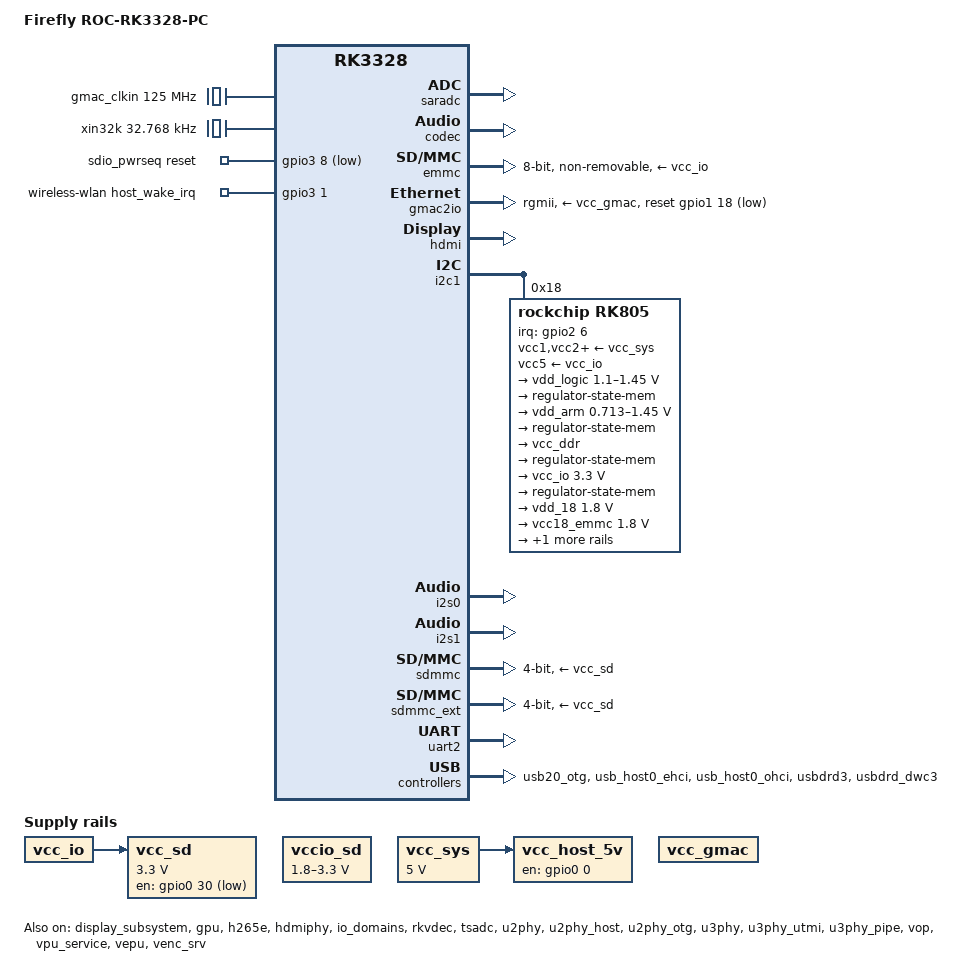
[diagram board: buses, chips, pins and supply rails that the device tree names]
/*
 * Copyright (c) 2017 Fuzhou Rockchip Electronics Co., Ltd
 *
 * This file is dual-licensed: you can use it either under the terms
 * of the GPL or the X11 license, at your option. Note that this dual
 * licensing only applies to this file, and not this project as a
 * whole.
 *
 *  a) This library is free software; you can redistribute it and/or
 *     modify it under the terms of the GNU General Public License as
 *     published by the Free Software Foundation; either version 2 of the
 *     License, or (at your option) any later version.
 *
 *     This library is distributed in the hope that it will be useful,
 *     but WITHOUT ANY WARRANTY; without even the implied warranty of
 *     MERCHANTABILITY or FITNESS FOR A PARTICULAR PURPOSE.  See the
 *     GNU General Public License for more details.
 *
 * Or, alternatively,
 *
 *  b) Permission is hereby granted, free of charge, to any person
 *     obtaining a copy of this software and associated documentation
 *     files (the "Software"), to deal in the Software without
 *     restriction, including without limitation the rights to use,
 *     copy, modify, merge, publish, distribute, sublicense, and/or
 *     sell copies of the Software, and to permit persons to whom the
 *     Software is furnished to do so, subject to the following
 *     conditions:
 *
 *     The above copyright notice and this permission notice shall be
 *     included in all copies or substantial portions of the Software.
 *
 *     THE SOFTWARE IS PROVIDED "AS IS", WITHOUT WARRANTY OF ANY KIND,
 *     EXPRESS OR IMPLIED, INCLUDING BUT NOT LIMITED TO THE WARRANTIES
 *     OF MERCHANTABILITY, FITNESS FOR A PARTICULAR PURPOSE AND
 *     NONINFRINGEMENT. IN NO EVENT SHALL THE AUTHORS OR COPYRIGHT
 *     HOLDERS BE LIABLE FOR ANY CLAIM, DAMAGES OR OTHER LIABILITY,
 *     WHETHER IN AN ACTION OF CONTRACT, TORT OR OTHERWISE, ARISING
 *     FROM, OUT OF OR IN CONNECTION WITH THE SOFTWARE OR THE USE OR
 *     OTHER DEALINGS IN THE SOFTWARE.
 */

/dts-v1/;
#include "rk3328.dtsi"

/ {
	model = "Firefly ROC-RK3328-PC";
	compatible = "firefly,roc-rk3328-pc", "rockchip,rk3328";

	chosen {
		bootargs = "rockchip_jtag earlyprintk=uart8250-32bit,0xff130000 swiotlb=1 kpti=0 console=ttyFIQ0 rw root=PARTUUID=614e0000-0000 rootfstype=ext4 rootwait";
		stdout-path = "serial2:1500000n8";
	};

	fiq-debugger {
		compatible = "rockchip,fiq-debugger";
		rockchip,serial-id = <2>;
		rockchip,signal-irq = <159>;
		rockchip,wake-irq = <0>;
		/* If enable uart uses irq instead of fiq */
		rockchip,irq-mode-enable = <0>;
		rockchip,baudrate = <1500000>;  /* Only 115200 and 1500000 */
		interrupts = <GIC_SPI 127 IRQ_TYPE_LEVEL_LOW>;
		status = "okay";
	};

	gmac_clkin: external-gmac-clock {
		compatible = "fixed-clock";
		clock-frequency = <125000000>;
		clock-output-names = "gmac_clkin";
		#clock-cells = <0>;
	};

	vcc_sd: sdmmc-regulator {
		compatible = "regulator-fixed";
		gpio = <&gpio0 30 GPIO_ACTIVE_LOW>;
		pinctrl-names = "default";
		pinctrl-0 = <&sdmmc_pwren>;
		regulator-name = "vcc_sd";
		regulator-min-microvolt = <3300000>;
		regulator-max-microvolt = <3300000>;
		vin-supply = <&vcc_io>;
	};

    vccio_sd: sdmmcio-regulator {
        compatible = "regulator-gpio";
        gpios = <&gpio0 27 GPIO_ACTIVE_HIGH>;
        states = <1800000 0x1
                  3300000 0x0>;
        regulator-name = "vccio_sd";
        regulator-type = "voltage";
        regulator-min-microvolt = <1800000>;
        regulator-max-microvolt = <3300000>;
    };

	vcc_host_5v: vcc-host-5v-regulator {
		compatible = "regulator-fixed";
		enable-active-high;
		gpio = <&gpio0 0 GPIO_ACTIVE_HIGH>;
		pinctrl-names = "default";
		pinctrl-0 = <&usb30_host_drv>;
		regulator-name = "vcc_host_5v";
		regulator-always-on;
		vin-supply = <&vcc_sys>;
	};

	vcc_sys: vcc-sys {
		compatible = "regulator-fixed";
		regulator-name = "vcc_sys";
		regulator-always-on;
		regulator-boot-on;
		regulator-min-microvolt = <5000000>;
		regulator-max-microvolt = <5000000>;
	};

    vcc_gmac: vcc-gmac {
        compatible = "regulator-fixed";
        regulator-name = "vcc_gmac";   
        regulator-always-on;
        regulator-boot-on;
    };

	xin32k: xin32k {
		compatible = "fixed-clock";
		clock-frequency = <32768>;
		clock-output-names = "xin32k";
		#clock-cells = <0>;
	};

	ir-receiver {
		compatible = "gpio-ir-receiver";
		pinctrl-0 = <&ir_int>;
		pinctrl-names = "default";
		status = "okay";
	};

	sound {
		compatible = "simple-audio-card";
		simple-audio-card,format = "i2s";
		simple-audio-card,mclk-fs = <256>;
		simple-audio-card,name = "rockchip,rk3328";
		simple-audio-card,cpu {
			sound-dai = <&i2s1>;
		};
		simple-audio-card,codec {
			sound-dai = <&codec>;
		};
	};

	hdmi-sound {
		compatible = "simple-audio-card";
		simple-audio-card,format = "i2s";
		simple-audio-card,mclk-fs = <128>;
		simple-audio-card,name = "rockchip,hdmi";
		simple-audio-card,cpu {
			sound-dai = <&i2s0>;
		};
		simple-audio-card,codec {
			sound-dai = <&hdmi>;
		};
	};

    sdio_pwrseq: sdio-pwrseq {
        compatible = "mmc-pwrseq-simple";
        pinctrl-names = "default";
        pinctrl-0 = <&wifi_enable_h>;
        /*
         * On the module itself this is one of these (depending
         * on the actual card populated):
         * - SDIO_RESET_L_WL_REG_ON
         * - PDN (power down when low)
         */
        reset-gpios = <&gpio3 8 GPIO_ACTIVE_LOW>;
    };
        
/*    wireless-bluetooth {
        compatible = "bluetooth-platdata";
        clocks = <&rk805 1>;
        clock-names = "ext_clock";
        uart_rts_gpios = <&gpio1 10 GPIO_ACTIVE_LOW>;
        pinctrl-names = "default", "rts_gpio";
        pinctrl-0 = <&uart0_rts>;
        pinctrl-1 = <&uart0_gpios>;
        BT,power_gpio = <&gpio1 21 GPIO_ACTIVE_HIGH>;
        BT,wake_host_irq = <&gpio1 26 GPIO_ACTIVE_HIGH>;
        status = "okay";
    };*/
    
    wireless-wlan {
        compatible = "wlan-platdata";
        clocks = <&cru SCLK_RTC32K>;
        clock-names = "ext_clock";
        pinctrl-names = "default";
        pinctrl-0 = <&clock_wifi>;
        rockchip,grf = <&grf>;
        wifi_chip_type = "";
        sdio_vref = <1800>;
        WIFI,host_wake_irq = <&gpio3 1 GPIO_ACTIVE_HIGH>;
        status = "okay";
    };

    adc-keys {                                                                                                                             
        compatible = "adc-keys";
        io-channels = <&saradc 0>;
    };
};

&saradc {
    status = "okay";
};

&codec {
	#sound-dai-cells = <0>;
	status = "okay";
};

&cpu0 {
	cpu-supply = <&vdd_arm>;
};

&cpu1 {
	cpu-supply = <&vdd_arm>;
};

&cpu2 {
	cpu-supply = <&vdd_arm>;
};

&cpu3 {
	cpu-supply = <&vdd_arm>;
};

&display_subsystem {
	status = "okay";
};

&emmc {
	bus-width = <8>;
	cap-mmc-highspeed;
	mmc-hs200-1_8v;
	non-removable;
	supports-emmc;
	pinctrl-names = "default";
	pinctrl-0 = <&emmc_clk &emmc_cmd &emmc_bus8>;
	vmmc-supply = <&vcc_io>;
	vqmmc-supply = <&vcc18_emmc>;
	status = "okay";
};

&gmac2io {
	phy-supply = <&vcc_gmac>;
	phy-mode = "rgmii";
	assigned-clocks = <&cru SCLK_MAC2IO>, <&cru SCLK_MAC2IO_EXT>;
	assigned-clock-parents = <&gmac_clkin>, <&gmac_clkin>;
	clock_in_out = "input";
	snps,reset-gpio = <&gpio1 18 GPIO_ACTIVE_HIGH>;
	snps,reset-active-low;
	snps,reset-delays-us = <0 10000 50000>;
	pinctrl-names = "default";
	pinctrl-0 = <&rgmiim1_pins &gmac_reset>;
	tx_delay = <0x26>;
	rx_delay = <0x11>;
	status = "okay";
};

&gpu {
	status = "okay";
	mali-supply = <&vdd_logic>;
};

&h265e {
	status = "okay";
};

&h265e_mmu {
	status = "okay";
};

&hdmi {
	#sound-dai-cells = <0>;
	status = "okay";
};

&hdmiphy {
	status = "okay";
};

&i2c1 {
	status = "okay";

	rk805: rk805@18 {
		compatible = "rockchip,rk805";
		status = "okay";
		reg = <0x18>;
		interrupt-parent = <&gpio2>;
		interrupts = <6 IRQ_TYPE_LEVEL_LOW>;
		pinctrl-names = "default";
		pinctrl-0 = <&pmic_int_l>;
		rockchip,system-power-controller;
		wakeup-source;
		gpio-controller;
		clock-output-names = "rk805-clkout1", "rk805-clkout2";
		#gpio-cells = <2>;
		#clock-cells = <1>;

		vcc1-supply = <&vcc_sys>;
		vcc2-supply = <&vcc_sys>;
		vcc3-supply = <&vcc_sys>;
		vcc4-supply = <&vcc_sys>;
		vcc5-supply = <&vcc_io>;
		vcc6-supply = <&vcc_sys>;

		rtc {
			status = "okay";
		};

		pwrkey {
			status = "disabled";
		};

		gpio {
			status = "okay";
		};

		regulators {
			compatible = "rk805-regulator";
			status = "okay";
			#address-cells = <1>;
			#size-cells = <0>;

			vdd_logic: RK805_DCDC1 {
				regulator-compatible = "RK805_DCDC1";
				regulator-name = "vdd_logic";
				regulator-min-microvolt = <1100000>;
				regulator-max-microvolt = <1450000>;
				regulator-initial-mode = <0x1>;
				regulator-ramp-delay = <12500>;
				regulator-boot-on;
				regulator-always-on;
				regulator-state-mem {
					regulator-mode = <0x2>;
					regulator-on-in-suspend;
					regulator-suspend-microvolt = <1000000>;
				};
			};

			vdd_arm: RK805_DCDC2 {
				regulator-compatible = "RK805_DCDC2";
				regulator-name = "vdd_arm";
				regulator-min-microvolt = <712500>;
				regulator-max-microvolt = <1450000>;
				regulator-initial-mode = <0x1>;
				regulator-ramp-delay = <12500>;
				regulator-boot-on;
				regulator-always-on;
				regulator-state-mem {
					regulator-mode = <0x2>;
					regulator-on-in-suspend;
					regulator-suspend-microvolt = <950000>;
				};
			};

			vcc_ddr: RK805_DCDC3 {
				regulator-compatible = "RK805_DCDC3";
				regulator-name = "vcc_ddr";
				regulator-initial-mode = <0x1>;
				regulator-boot-on;
				regulator-always-on;
				regulator-state-mem {
					regulator-mode = <0x2>;
					regulator-on-in-suspend;
				};
			};

			vcc_io: RK805_DCDC4 {
				regulator-compatible = "RK805_DCDC4";
				regulator-name = "vcc_io";
				regulator-min-microvolt = <3300000>;
				regulator-max-microvolt = <3300000>;
				regulator-initial-mode = <0x1>;
				regulator-boot-on;
				regulator-always-on;
				regulator-state-mem {
					regulator-mode = <0x2>;
					regulator-on-in-suspend;
					regulator-suspend-microvolt = <3300000>;
				};
			};

			vdd_18: RK805_LDO1 {
				regulator-compatible = "RK805_LDO1";
				regulator-name = "vdd_18";
				regulator-min-microvolt = <1800000>;
				regulator-max-microvolt = <1800000>;
				regulator-boot-on;
				regulator-always-on;
				regulator-state-mem {
					regulator-on-in-suspend;
					regulator-suspend-microvolt = <1800000>;
				};
			};

			vcc18_emmc: RK805_LDO2 {
				regulator-compatible = "RK805_LDO2";
				regulator-name = "vcc18_emmc";
				regulator-min-microvolt = <1800000>;
				regulator-max-microvolt = <1800000>;
				regulator-boot-on;
				regulator-always-on;
				regulator-state-mem {
					regulator-on-in-suspend;
					regulator-suspend-microvolt = <1800000>;
				};
			};

			vdd_10: RK805_LDO3 {
				regulator-compatible = "RK805_LDO3";
				regulator-name = "vdd_10";
				regulator-min-microvolt = <1000000>;
				regulator-max-microvolt = <1000000>;
				regulator-boot-on;
				regulator-always-on;
				regulator-state-mem {
					regulator-on-in-suspend;
					regulator-suspend-microvolt = <1000000>;
				};
			};
		};
	};
};

&i2s0 {
	#sound-dai-cells = <0>;
	rockchip,bclk-fs = <128>;
	status = "okay";
};

&i2s1 {
	#sound-dai-cells = <0>;
	status = "okay";
};

&io_domains {
	status = "okay";

	vccio1-supply = <&vcc_io>;
	vccio2-supply = <&vcc18_emmc>;
	vccio3-supply = <&vccio_sd>;
	vccio4-supply = <&vdd_18>;
	vccio5-supply = <&vcc_io>;
	vccio6-supply = <&vcc_io>;
	pmuio-supply = <&vcc_io>;
};

&pinctrl {
	ir {
		ir_int: ir-int {
			rockchip,pins = <2 2 RK_FUNC_GPIO &pcfg_pull_none>;
		};
	};

	pmic {
		pmic_int_l: pmic-int-l {
			rockchip,pins = <2 6 RK_FUNC_GPIO &pcfg_pull_up>;
		};
	};

    sdmmc {
        sdmmc_pwren: sdmmc-pwren {
            rockchip,pins = <0 30 RK_FUNC_GPIO &pcfg_pull_none>;             
        };
    };

	sdio-pwrseq {
		wifi_enable_h: wifi-enable-h {
			rockchip,pins = <3 8 RK_FUNC_GPIO &pcfg_pull_none>;
		};
	};

	usb3 {
		usb30_host_drv: usb30-host-drv {
			rockchip,pins = <0 0 RK_FUNC_GPIO &pcfg_pull_none>;
		};
	};

    wireless-wlan {
        clock_wifi: clock-wifi {
            rockchip,pins = <1 28 RK_FUNC_1 &pcfg_pull_none>;            
        };    
    };

    gmac2io {
        gmac_reset: gamc-reset {
            rockchip,pins = <1 18 RK_FUNC_GPIO &pcfg_pull_none>;            
        };
    };
};

&rkvdec {
	status = "okay";
};

&rkvdec_mmu {
	status = "okay";
};

&sdmmc {
	bus-width = <4>;
	cap-mmc-highspeed;
	cap-sd-highspeed;
    sd-uhs-sdr104;
    clock-frequency = <150000000>;
    clock-freq-min-max = <400000 150000000>;
	disable-wp;
    num-slots = <1>;
	pinctrl-names = "default";
	pinctrl-0 = <&sdmmc0_clk &sdmmc0_cmd &sdmmc0_dectn &sdmmc0_bus4>;
    supports-sd;
	status = "okay";	
    card-detect-delay = <1200>;
	vmmc-supply = <&vcc_sd>;
    vqmmc-supply = <&vccio_sd>;
};

&sdio {
    bus-width = <4>;
    cap-sd-highspeed;
    cap-sdio-irq;
    disable-wp;
    keep-power-in-suspend;
    max-frequency = <50000000>;
    non-removable;
    num-slots = <1>;
    pinctrl-names = "default";
    pinctrl-0 = <&sdmmc1_bus4 &sdmmc1_cmd &sdmmc1_clk>;
    supports-sdio;
    status = "disabled";
};

&sdmmc_ext {                                                                                                                               
    bus-width = <4>;
    cap-sd-highspeed;
    cap-sdio-irq;
    disable-wp;
    keep-power-in-suspend;
    max-frequency = <100000000>;
    mmc-pwrseq = <&sdio_pwrseq>;
    num-slots = <1>;
    pinctrl-names = "default";
    pinctrl-0 = <&sdmmc0ext_clk &sdmmc0ext_cmd &sdmmc0ext_bus4>;
    supports-sdio;
    status = "okay";
    vmmc-supply = <&vcc_sd>;
};
/*
&spi0 {
	status = "okay";

	flash@0 {
		compatible = "gigadevice,gd25q128", "jedec,spi-nor";
		#address-cells = <1>;
		#size-cells = <1>;
		reg = <0>;
		m25p,fast-read;
		/* The max SCLK of the flash 104/80 MHZ  */
/*		spi-max-frequency = <50000000>;
	};
};*/

&tsadc {
	rockchip,hw-tshut-mode = <0>;
	rockchip,hw-tshut-polarity = <0>;
	status = "okay";
};

&uart2 {
	status = "okay";
};

&u2phy {
	status = "okay";
};

&u2phy_host {
	phy-supply = <&vcc_host_5v>;
	status = "okay";
};

&u2phy_otg {
    status = "okay";
};

&u3phy {
	phy-supply = <&vcc_host_5v>;
	status = "okay";
};

&u3phy_utmi {
	status = "okay";
};

&u3phy_pipe {
	status = "okay";
};

&usb20_otg {
	//dr_mode = "host";
	status = "okay";
};

&usb_host0_ehci {
	status = "okay";
};

&usb_host0_ohci {
	status = "okay";
};

&usbdrd3 {
	status = "okay";
};

&usbdrd_dwc3 {
	status = "okay";
};

&vop {
	status = "okay";
};

&vop_mmu {
	status = "okay";
};

&vpu_service {
	status = "okay";
};

&vpu_mmu {
	status = "okay";
};

&vepu {
	status = "okay";
};

&vepu_mmu {
	status = "okay";
};

&venc_srv {
	status = "okay";
};
